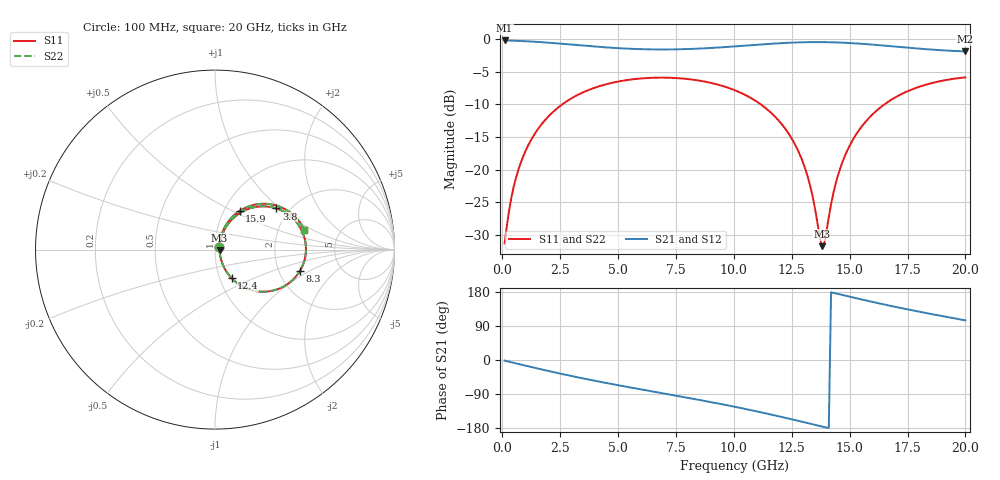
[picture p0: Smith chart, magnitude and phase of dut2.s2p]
! Touchstone file exported from HFSS 2026.1.0
!  File:  C:/ffzhzh/LocalFiles/Ansys_Project_Files/temp_train_TSV_RDL_2_1782959907_6388.aedt
!  Generated:  10:51:34 AM Jul  2, 2026
!  Design:  TSV_RDL
!  Project:  temp_train_TSV_RDL_2_1782959907_6388
! Variables:
!  h_bsmrdl = 3.77um
!  h_ox = 20um
!  h_rdl = 5um
!  h_sub = 97.11um
!  h_tmrdl = 4.36um
!  h_tsv = 97.11um
!  h_via = 3um
!  l_bsmrdl = 644.29um
!  l_sub = 3801.22um
!  l_tmrdl = 346.23um
!  m_sub = 200um
!  pitch = 43.5um
!  r_tsv = 13.1um
!  s_tmrdl = 10um
!  w_bsmrdl = 12.12um
!  w_sub = 500um
!  w_tmrdl = 15.69um
!  x_tsv_center1 = 354.075um
!  x_tsv_center2 = 1010.485um
!  x_tsv_center3 = 1372.405um
!  x_tsv_center4 = 2028.815um
!  x_tsv_center5 = 2390.735um
!  x_tsv_center6 = 3047.145um
# GHz S MA R 50.000000
! Terminal data exported
! Port[1] = TM_RDL1_1_T1
! Port[2] = TM_RDL5_1_T1
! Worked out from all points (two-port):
!   200 points, 100 MHz to 20 GHz, reference 50 ohm
!   highest |S21| = -0.20 dB at 100 MHz (marker M1); lowest = -1.9 dB at 20 GHz (marker M2)
!   |S21| within 3 dB of the highest: start of sweep to end of sweep
!   lowest |S11| = -31.8 dB at 13.8 GHz (marker M3), VSWR 1.05, Z = 52.6 - j0.368 ohm
!   |S11| at or under -10 dB: start of sweep to 2.591 GHz; 11.16 GHz to 16.51 GHz (5.345 GHz wide, 38.6 % of centre)
!   |S22| runs from -31.8 to -5.9 dB; largest |S21 - S12| = 1.7e-14
!   S11 on the Smith chart (normalised r, x): 100 MHz: 1.05, +0.03; 3.8 GHz: 1.71, +0.95; 8.3 GHz: 2.60, -0.83; 12.4 GHz: 1.14, -0.38; 15.9 GHz: 1.18, +0.55; 20 GHz: 2.79, +0.84
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0.1  0.02714 31.1  0.977 -1.5  0.977 -1.5  0.02714 31.1
! Gamma 0 0 0 0
! Port Impedance 50 0 50 0
0.5  0.07473 62.8  0.9724 -7.6  0.9724 -7.6  0.07473 62.8
1.2  0.1633 62.7  0.9601 -17.8  0.9601 -17.8  0.1633 62.7
2.2  0.2775 52.5  0.9331 -31.8  0.9331 -31.8  0.2775 52.5
3.5  0.3917 37.2  0.8918 -48.8  0.8918 -48.8  0.3917 37.2
3.8  0.4121 33.8  0.8828 -52.4  0.8828 -52.4  0.4121 33.8
6.8  0.5069 1.4  0.8333 -86.5  0.8333 -86.5  0.5069 1.4
8.3  0.487 -14.4  0.8432 -103.0  0.8432 -103.0  0.487 -14.4
10.1  0.4016 -34.3  0.8813 -124.2  0.8813 -124.2  0.4016 -34.3
11.4  0.2934 -49.3  0.9163 -141.1  0.9163 -141.1  0.2934 -49.3
12.4  0.1846 -59.8  0.9385 -155.0  0.9385 -155.0  0.1846 -59.9
13  0.1117 -63.0  0.9466 -163.7  0.9466 -163.7  0.1117 -63.1
13.4  0.06252 -57.8  0.9491 -169.5  0.9491 -169.5  0.06247 -58.0
13.8  0.02585 -7.8  0.9491 -175.4  0.9491 -175.4  0.02563 -7.9
13.9  0.02685 19.7  0.9487 -176.9  0.9487 -176.9  0.02662 19.8
14.3  0.06616 62.7  0.9454 177.2  0.9454 177.2  0.06604 62.9
14.7  0.1154 66.9  0.9396 171.4  0.9396 171.4  0.1153 67.0
15.2  0.1763 64.4  0.9294 164.2  0.9294 164.2  0.1762 64.5
15.9  0.2555 57.5  0.9106 154.4  0.9106 154.4  0.2554 57.5
16.7  0.3341 48.5  0.8857 143.7  0.8857 143.7  0.334 48.5
18.2  0.4424 31.7  0.8402 125.1  0.8402 125.1  0.4423 31.7
20  0.5086 12.7  0.8054 104.7  0.8054 104.7  0.5086 12.7
